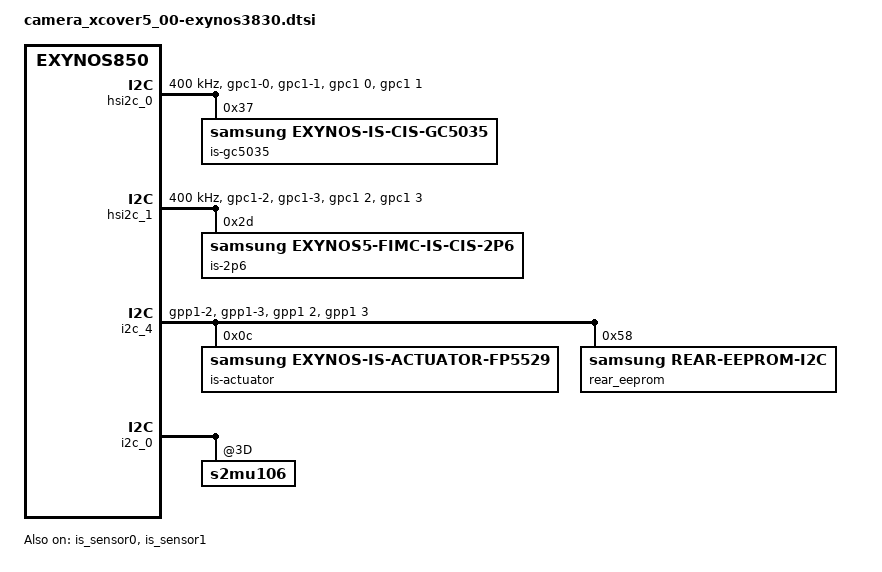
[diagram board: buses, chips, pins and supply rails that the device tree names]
/*
 * Samsung Exynos SoC series Pablo driver
 *
 * Copyright (c) 2020 Samsung Electronics Co., Ltd
 *
 * This program is free software; you can redistribute it and/or modify
 * it under the terms of the GNU General Public License version 2 as
 * published by the Free Software Foundation.
 */

#include <dt-bindings/camera/exynos_is_dt.h>
#include <dt-bindings/interrupt-controller/exynos3830.h>
#include <dt-bindings/clock/exynos3830.h>

#include "../camera/vendor_dt/xcover5/camera_xcover5_common_exynos850.dtsi"
#include "../exynos_gpio_config_macros.dtsi"

/***** reference symbol node *****/
&exynos_is {

	pinctrl-names = "default","sleep";
	pinctrl-1 = <&flash_off_state>;

	vender {
		rear_sensor_id = <58>;   /* S5K2P6 */
		front_sensor_id = <210>; /* GC5035 */
		need_i2c_config;
		//use_module_check;
		//skip_cal_loading;
		//check_sensor_vendor;

		/* for Factory Test */
		max_supported_camera = <2>;
		supported_cameraId = <0 1>;
		/* REAR, FRONT*/

		max_camera_num = <2>;
		camera_info0 {                 /* 0 : rear - S5K2P6 */
			isp = <0>;             /* 0 : INT , 1 : EXT , 2 : SOC */
			cal_memory = <2>;      /* 0 : N , 1 : FROM , 2 : EEPROM , 3 : OTP  */
			read_version = <0>;    /* 0 : SYSFS , 1 : CAMON */
			core_voltage = <0>;    /* 0 : N , 1 : Y  */
			upgrade = <0>;         /* 0 : N , 1 : SYSFS , 2 : CAMON */
			fw_write = <0>;        /* 0 : N , 1 : OS, 2 : SD, 3 : ALL */
			fw_dump = <0>;         /* 0 : N , 1 : Y */
			companion = <0>;       /* 0 : N , 1 : Y  */
			ois = <0>;             /* 0 : N , 1 : Y  */
			valid = <1>;           /* 0 : INVALID, 1 : VALID */
			dual_open = <0>;       /* 0 : SINGLE_OPEN , 1 : DUAL_OPEN */
			position = <0>;        /* 0 : Rear, 1:Front, 2:Rear2, 3:Front2, 4:Rear3, 5:Front3, 6:Rear4*/
		};
		camera_info1 {                 /* 1 : front1 - GC5035 */
			isp = <0>;             /* 0 : INT , 1 : EXT , 2 : SOC */
			cal_memory = <3>;      /* 0 : N , 1 : FROM , 2 : EEPROM , 3 : OTP  */
			read_version = <0>;    /* 0 : SYSFS , 1 : CAMON */
			core_voltage = <0>;    /* 0 : N , 1 : Y  */
			upgrade = <0>;         /* 0 : N , 1 : SYSFS , 2 : CAMON */
			fw_write = <0>;        /* 0 : N , 1 : OS, 2 : SD, 3 : ALL */
			fw_dump = <0>;         /* 0 : N , 1 : Y */
			companion = <0>;       /* 0 : N , 1 : Y  */
			ois = <0>;             /* 0 : N , 1 : Y  */
			valid = <1>;           /* 0 : INVALID, 1 : VALID */
			dual_open = <0>;       /* 0 : SINGLE_OPEN , 1 : DUAL_OPEN */
			position = <1>;        /* 0 : Rear, 1:Front, 2:Rear2, 3:Front2, 4:Rear3, 5:Front3, 6:Rear4*/
		};
	};
};

&pinctrl_5 {
	/* FRONT */
	/* No pull-up resistor, use internal one */
	hsi2c_0_bus: hsi2c_0-bus {
		samsung,pins = "gpc1-0", "gpc1-1";
		samsung,pin-function = <2>;
		samsung,pin-pud = <0>;
		samsung,pin-drv = <0>;
	};

	hsi2c_0_bus_in: hsi2c_0-bus-in {
		samsung,pins = "gpc1-0", "gpc1-1";
		samsung,pin-function = <3>;
		samsung,pin-pud = <0>;
		samsung,pin-drv = <0>;
	};

	/* REAR */
	/* No pull-up resistor, use internal one */
	hsi2c_1_bus: hsi2c_1-bus {
		samsung,pins = "gpc1-2", "gpc1-3";
		samsung,pin-function = <2>; 
		samsung,pin-pud = <0>;
		samsung,pin-drv = <0>;
	};

	hsi2c_1_bus_in: hsi2c_1-bus-in {
		samsung,pins = "gpc1-2", "gpc1-3";
		samsung,pin-function = <3>;
		samsung,pin-pud = <0>;
		samsung,pin-drv = <0>;
	};

	/* rear EEPROM, Actuator */
	i2c_4_bus: i2c_4-bus {
		samsung,pins = "gpp1-2", "gpp1-3";
		samsung,pin-function = <2>;
		samsung,pin-pud = <0>;
		samsung,pin-drv = <0>;
	};

	i2c_4_bus_in: i2c_4-bus-in {
		samsung,pins = "gpp1-2", "gpp1-3";
		samsung,pin-function = <3>;
		samsung,pin-pud = <0>;
		samsung,pin-drv = <0>;
	}; 
	
	flash_off_state: flash_off_state {
		gpg2-2{
			samsung,pins = "gpg2-2";
			samsung,pin-con-pdn = <PIN_PDN_INPUT>;
			samsung,pin-pud-pdn = <PIN_PULL_DOWN>;
			samsung,pin-val = <0>;
		};
		gpg2-3{
			samsung,pins = "gpg2-3";
			samsung,pin-con-pdn = <PIN_PDN_INPUT>;
			samsung,pin-pud-pdn = <PIN_PULL_DOWN>;
			samsung,pin-val = <0>;
		};
		gpg2-5{
			samsung,pins = "gpg2-5";
			samsung,pin-con-pdn = <PIN_PDN_PREV>;
			samsung,pin-pud-pdn = <PIN_PULL_NONE>;
		};
	};
};

&hsi2c_0 {
	#address-cells = <1>;
	#size-cells = <0>;
	gpios = <&gpc1 0 0 &gpc1 1 0>;
	status = "okay";
	clock-frequency = <400000>;
	samsung,reset-before-trans;

	pinctrl-names = "default","on_i2c","off_i2c";
	pinctrl-0 = <&hsi2c_0_bus_in>;
	pinctrl-1 = <&hsi2c_0_bus>;
	pinctrl-2 = <&hsi2c_0_bus_in>;

	is-gc5035@6E {
		compatible = "samsung,exynos-is-cis-gc5035";
		reg = <0x37>;
		id = <1>; /* matching sensor id */
		sensor_f_number = <220>; /* f number 2.2 */
		setfile = "setC"; /* setC is for B_FIRST Bayer Order (Mirror+Updown) */
		use_sensor_otp;
		rom_position = <1>;
		use_initial_ae;
	};
};

&hsi2c_1 {
	#address-cells = <1>;
	#size-cells = <0>;
	gpios = <&gpc1 2 0 &gpc1 3 0>;
	status = "okay";
	clock-frequency = <400000>;
	samsung,scl-extended-low-period;
	samsung,reset-before-trans;

	pinctrl-names = "default","on_i2c","off_i2c";
	pinctrl-0 = <&hsi2c_1_bus_in>;
	pinctrl-1 = <&hsi2c_1_bus>;
	pinctrl-2 = <&hsi2c_1_bus_in>;

	is-2p6@5A {
		compatible = "samsung,exynos5-fimc-is-cis-2p6";
		reg = <0x2D>; 
		id = <0>; /* matching sensor id */
		sensor_f_number = <180>; /* f number 1.8 */
		use_pdaf;
		setfile = "setB";
	};
};

&i2c_4 {
	#address-cells = <1>;
	#size-cells = <0>;
	gpios = <&gpp1 2 0 &gpp1 3 0>;
	status = "okay";
	samsung,i2c-sda-delay = <100>;
	samsung,i2c-max-bus-freq = <400000>;

	pinctrl-names = "default","on_i2c","off_i2c";
	pinctrl-0 = <&i2c_4_bus_in>;
	pinctrl-1 = <&i2c_4_bus>;
	pinctrl-2 = <&i2c_4_bus_in>;

	is-actuator@18 {
		compatible = "samsung,exynos-is-actuator-fp5529";
		reg = <0x0C>;
		id = <0>; // matching is_sensor id 
		place = <0>;
	};

	rear_eeprom@B0 {
		compatible = "samsung,rear-eeprom-i2c";
		reg = <0x58>;			/* 7bit-addr */
	};

};

&is_sensor0 {
	#address-cells = <1>;
	#size-cells = <1>;
	scenario = <SENSOR_SCENARIO_NORMAL>;	/* Normal, Vision, OIS etc */
	id = <0>;
	csi_ch = <1>;
	dma_ch = <0 0 0 0>;
	vc_ch = <0 1 2 3>;
	flite_ch = <FLITE_ID_NOTHING>;
	use_ssvc1_internal;
	is_bns = <0>;
	csi_mux = <0x21>;	/* IPP_INPUT = (ipp1_in << 4 | ipp0_in) = (CSI_ID_C << 4 | CSI_ID_B) */
	status = "okay";
	reg =	<0x0 0x14410000 0x1000>, /* MIPI-CSI1 */
			<0x0 0x144A0000 0x10000>; /* PHY: m0s4s4s2 */
	reg-names = "csi", "phy";
	interrupts = <0 INTREQ__CSIS1 IRQ_TYPE_LEVEL_HIGH>, /* MIPI-CSI1 */
			<0 INTREQ__CSIS_DMA_0 IRQ_TYPE_LEVEL_HIGH>,
			<0 INTREQ__CSIS_DMA_0 IRQ_TYPE_LEVEL_HIGH>,
			<0 INTREQ__CSIS_DMA_0 IRQ_TYPE_LEVEL_HIGH>,
			<0 INTREQ__CSIS_DMA_0 IRQ_TYPE_LEVEL_HIGH>;
	interrupt-names = "csi",
			"mode0_VC0", "mode0_VC1", "mode0_VC2", "mode0_VC3";
	phys = <&mipi_phy_csis1_m0s4s4s2 0>;
	phy-names = "csis_dphy";

	/* without PAF HW */
	sensor0_ch_mode0: sensor0-ch-mode0 {
		reg = <0x14431000 0x100>, /* DMA0 VC0 */
			<0x14431400 0x100>, /* DMA0 Common */
			<0x14431100 0x100>, /* DMA0 VC1 */
			<0x14431400 0x100>, /* DMA0 Common */
			<0x14431200 0x100>, /* DMA0 VC2 */
			<0x14431400 0x100>, /* DMA0 Common */
			<0x14431300 0x100>, /* DMA0 VC3 */
			<0x14431400 0x100>; /* DMA0 Common */
	};
};

&is_sensor1 {
	#address-cells = <1>;
	#size-cells = <1>;
	scenario = <SENSOR_SCENARIO_NORMAL>;    /* Normal, Vision, OIS etc */
	id = <1>;
	csi_ch = <0>;
	dma_ch = <1 1 1 1>;
	vc_ch = <0 1 2 3>;
	flite_ch = <FLITE_ID_NOTHING>;
	is_bns = <0>;
	csi_mux = <0x1>;	/* IPP_INPUT = (ipp1_in << 4 | ipp0_in) = (CSI_ID_A << 4 | CSI_ID_B) */
	status = "okay";

	reg = <0x0 0x14400000 0x1000>, /* MIPI-CSI0 */
		<0x0 0x14490000 0x10000>; /* PHY: m0s4s4s2 */
	reg-names = "csi", "phy";
	interrupts = <0 INTREQ__CSIS0 IRQ_TYPE_LEVEL_HIGH>, /*MIPI-CSI0 */
		<0 INTREQ__CSIS_DMA_1 IRQ_TYPE_LEVEL_HIGH>,
		<0 INTREQ__CSIS_DMA_1 IRQ_TYPE_LEVEL_HIGH>,
		<0 INTREQ__CSIS_DMA_1 IRQ_TYPE_LEVEL_HIGH>,
		<0 INTREQ__CSIS_DMA_1 IRQ_TYPE_LEVEL_HIGH>;
	interrupt-names = "csi",
		"mode0_VC0", "mode0_VC1", "mode0_VC2", "mode0_VC3";
	phys = <&mipi_phy_csis0_m0s4s4s2 0>;
	phy-names = "csis_dphy";

	/* without PAF HW */
	sensor1_ch_mode0: sensor1-ch-mode0 {
		reg = <0x14432000 0x100>, /* DMA1 VC0 */
			<0x14432400 0x100>, /* DMA1 Common */
			<0x14432100 0x100>, /* DMA1 VC1 */
			<0x14432400 0x100>, /* DMA1 Common */
			<0x14432200 0x100>, /* DMA1 VC2 */
			<0x14432400 0x100>, /* DMA1 Common */
			<0x14432300 0x100>, /* DMA1 VC3 */
			<0x14432400 0x100>; /* DMA1 Common */
	};
};

/* FLASH-LED : leds-s2mu106 */
&i2c_0 {
	s2mu106@3D{
		flash_led {
			default_current = <50>;
			max_current = <100>;
			default_timer = <0>;
			torch-gpio = <&gpg2 5 0x1>; /* Controls FLED1 Torch mode for Flashlight */
			flash-gpio = <&gpg2 2 0x1>; /* Controls FLED2 Flash mode for Flash Capture */
			flash-set-gpio = <&gpg2 3 0x1>; /* Controls FLED2 Torch mode for Video Flash */
			camera_fled_channel = <2>; /* FLED channel for Camera */
			flashlight_channel = <1>; /* FLED channel for Flashlight */
			camera_flash_en_fgpio = <1>; /* FGPIO pin on IFPMIC that controls Flash Enable mode for camera FLED channel */
			camera_torch_en_fgpio = <2>; /* FGPIO pin on IFPMIC that controls Torch Enable mode for camera FLED channel */
			flashlight_en_fgpio = <4>; /* FGPIO pin on IFPMIC that controls Torch Enable mode for Flashlight FLED channel */
			flash_current = <1200>;
			preflash_current = <160>;
			movie_current = <160>;
			torch_current = <70>;
			factory_torch_current = <220>;
			factory_flash_current = <600>;
			flashlight_current = <40 50 70 170 250>;

			status = "okay";
		};
	};
};
